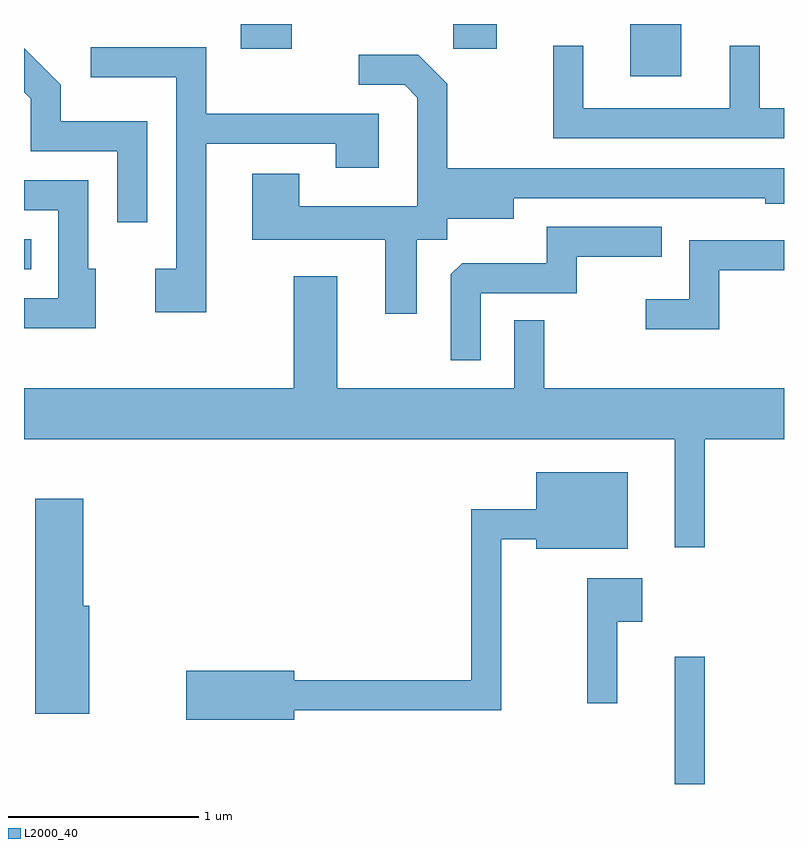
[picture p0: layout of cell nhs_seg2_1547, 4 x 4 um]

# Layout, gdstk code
import gdstk
lib = gdstk.Library(unit=1e-6, precision=1e-09)
def R(c, l, rs):  # rectangles x0, y0, x1, y1
    for r in rs: c.add(gdstk.rectangle(r[:2], r[2:], *l))
def P(c, l, *ps):  # polygons
    for p in ps: c.add(gdstk.Polygon(p, *l))
L2000_40 = (2000, 40)

nhs_seg2_1547 = lib.new_cell('nhs_seg2_1547')
R(nhs_seg2_1547, L2000_40, [(233.036,1079.802,233.194,1080.473), (229.611,1082.511,229.648,1082.669), (232.801,1083.526,233.069,1083.802), (230.751,1083.671,231.019,1083.802), (231.871,1083.671,232.099,1083.802)])
P(nhs_seg2_1547, L2000_40, [(233.611,1083.359),(233.484,1083.359),(233.484,1083.688),(233.326,1083.688),(233.326,1083.359),(232.554,1083.359),(232.554,1083.688),(232.396,1083.688),(232.396,1083.201),(233.611,1083.201)],
  [(230.569,1083.171),(231.251,1083.171),(231.251,1083.046),(231.479,1083.046),(231.479,1083.329),(230.569,1083.329),(230.569,1083.679),(229.963,1083.679),(229.963,1083.521),(230.411,1083.521),(230.411,1082.514),(230.301,1082.514),(230.301,1082.286),(230.569,1082.286)],
  [(230.259,1083.289),(229.804,1083.289),(229.804,1083.482),(229.611,1083.675),(229.611,1083.444),(229.646,1083.409),(229.646,1083.131),(230.101,1083.131),(230.101,1082.758),(230.259,1082.758)],
  [(231.679,1082.666),(231.839,1082.666),(231.839,1082.776),(232.189,1082.776),(232.189,1082.886),(233.511,1082.886),(233.511,1082.856),(233.611,1082.856),(233.611,1083.044),(231.839,1083.044),(231.839,1083.487),(231.687,1083.639),(231.373,1083.639),(231.373,1083.481),(231.614,1083.481),(231.681,1083.414),(231.681,1082.844),(231.059,1082.844),(231.059,1083.014),(230.811,1083.014),(230.811,1082.666),(231.511,1082.666),(231.511,1082.278),(231.679,1082.278)],
  [(229.989,1082.514),(229.949,1082.514),(229.949,1082.979),(229.611,1082.979),(229.611,1082.821),(229.791,1082.821),(229.791,1082.359),(229.611,1082.359),(229.611,1082.201),(229.989,1082.201)],
  [(232.014,1082.386),(232.519,1082.386),(232.519,1082.576),(232.968,1082.576),(232.968,1082.734),(232.361,1082.734),(232.361,1082.544),(231.917,1082.544),(231.856,1082.484),(231.856,1082.033),(232.014,1082.033)],
  [(233.269,1082.506),(233.611,1082.506),(233.611,1082.664),(233.111,1082.664),(233.111,1082.354),(232.883,1082.354),(232.883,1082.196),(233.269,1082.196)],
  [(233.194,1081.616),(233.611,1081.616),(233.611,1081.884),(232.349,1081.884),(232.349,1082.243),(232.191,1082.243),(232.191,1081.884),(231.259,1081.884),(231.259,1082.474),(231.031,1082.474),(231.031,1081.884),(229.611,1081.884),(229.611,1081.616),(233.036,1081.616),(233.036,1081.048),(233.194,1081.048)],
  [(231.034,1080.191),(232.124,1080.191),(232.124,1081.091),(232.306,1081.091),(232.306,1081.041),(232.789,1081.041),(232.789,1081.444),(232.306,1081.444),(232.306,1081.249),(231.966,1081.249),(231.966,1080.349),(231.034,1080.349),(231.034,1080.399),(230.466,1080.399),(230.466,1080.141),(231.034,1080.141)],
  [(229.954,1080.739),(229.924,1080.739),(229.924,1081.304),(229.671,1081.304),(229.671,1080.171),(229.954,1080.171)],
  [(232.734,1080.656),(232.864,1080.656),(232.864,1080.884),(232.576,1080.884),(232.576,1080.228),(232.734,1080.228)])

lib.write_gds('nhs_seg2_1547.gds')
